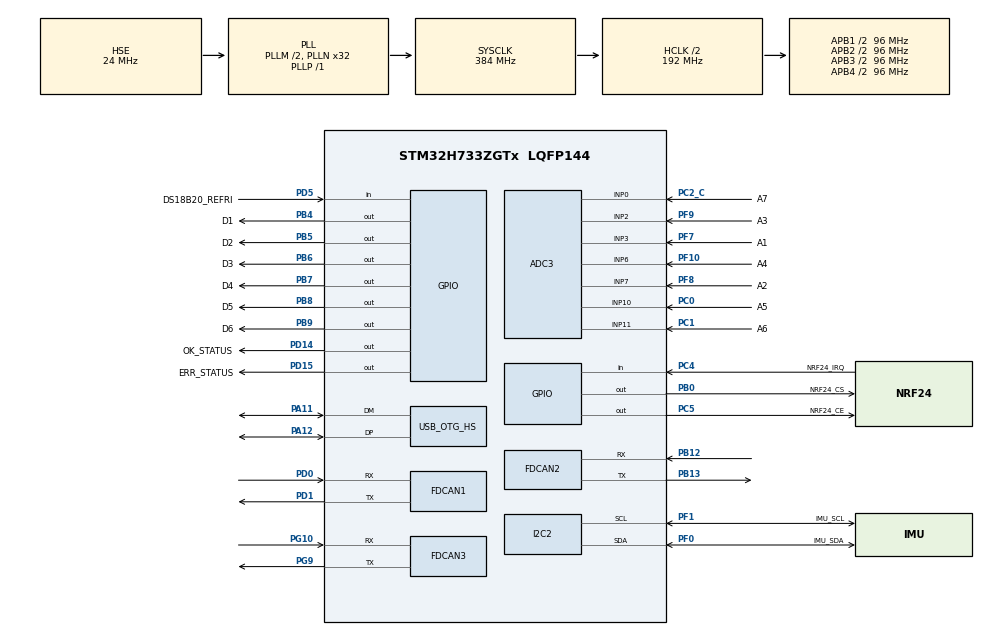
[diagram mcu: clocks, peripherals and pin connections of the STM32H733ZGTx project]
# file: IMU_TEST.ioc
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ADC3.Channel-0\#ChannelRegularConversion=ADC_CHANNEL_3
ADC3.NbrOfConversionFlag=1
ADC3.OffsetNumber-0\#ChannelRegularConversion=ADC_OFFSET_NONE
ADC3.OffsetSign-0\#ChannelRegularConversion=ADC3_OFFSET_SIGN_NEGATIVE
ADC3.Rank-0\#ChannelRegularConversion=1
ADC3.SamplingTime-0\#ChannelRegularConversion=ADC3_SAMPLETIME_2CYCLES_5
FDCAN1.AutoRetransmission=ENABLE
FDCAN1.CalculateBaudRateNominal=500000
FDCAN1.CalculateTimeBitNominal=2000
FDCAN1.CalculateTimeQuantumNominal=250.0
FDCAN1.ExtFiltersNbr=1
FDCAN1.NominalPrescaler=6
FDCAN1.NominalTimeSeg1=2
FDCAN1.NominalTimeSeg2=5
FDCAN1.RxBuffersNbr=0
FDCAN1.RxFifo0ElmtsNbr=32
FDCAN1.RxFifo1ElmtsNbr=32
FDCAN1.StdFiltersNbr=1
FDCAN1.TxBuffersNbr=0
FDCAN1.TxEventsNbr=0
FDCAN1.TxFifoQueueElmtsNbr=32
FDCAN2.CalculateBaudRateNominal=500000
FDCAN2.CalculateTimeBitNominal=2000
FDCAN2.CalculateTimeQuantumNominal=250.0
FDCAN2.ExtFiltersNbr=1
FDCAN2.FrameFormat=FDCAN_FRAME_CLASSIC
FDCAN2.NominalPrescaler=6
FDCAN2.NominalTimeSeg1=2
FDCAN2.NominalTimeSeg2=5
FDCAN2.RxBuffersNbr=0
FDCAN2.RxFifo0ElmtSize=FDCAN_DATA_BYTES_8
FDCAN2.RxFifo0ElmtsNbr=16
FDCAN2.RxFifo1ElmtsNbr=16
FDCAN2.StdFiltersNbr=1
FDCAN2.TxEventsNbr=0
FDCAN2.TxFifoQueueElmtsNbr=32
FDCAN3.CalculateBaudRateNominal=500000
FDCAN3.CalculateTimeBitNominal=2000
FDCAN3.CalculateTimeQuantumNominal=250.0
FDCAN3.ExtFiltersNbr=1
FDCAN3.NominalPrescaler=6
FDCAN3.NominalTimeSeg1=2
FDCAN3.NominalTimeSeg2=5
FDCAN3.RxFifo0ElmtsNbr=16
FDCAN3.RxFifo1ElmtsNbr=16
FDCAN3.StdFiltersNbr=1
FDCAN3.TxFifoQueueElmtsNbr=32
I2C2.Speed=100
I2C2.Timing=0x10B0DCFB
Mcu.Family=STM32H7
Mcu.Name=STM32H733ZGTx
Mcu.Package=LQFP144
NVIC.FDCAN1_IT0_IRQn=true\:1\:0\:true\:false\:true\:true\:true\:true
NVIC.FDCAN2_IT0_IRQn=true\:2\:0\:true\:false\:true\:true\:true\:true
NVIC.FDCAN3_IT0_IRQn=true\:0\:0\:false\:false\:true\:true\:true\:true
NVIC.OTG_HS_IRQn=true\:0\:0\:false\:false\:true\:false\:true\:true
NVIC.PriorityGroup=NVIC_PRIORITYGROUP_4
NVIC.TIM16_IRQn=true\:0\:0\:false\:false\:true\:true\:true\:true
PA11.Mode=Device_Only_FS
PA11.Signal=USB_OTG_HS_DM
PA12.Mode=Device_Only_FS
PA12.Signal=USB_OTG_HS_DP
PA13(JTMS/SWDIO).Mode=Serial_Wire
PA13(JTMS/SWDIO).Signal=DEBUG_JTMS-SWDIO
PA14(JTCK/SWCLK).Mode=Serial_Wire
PA14(JTCK/SWCLK).Signal=DEBUG_JTCK-SWCLK
PA5.Signal=SPI1_SCK
PA6.Signal=SPI1_MISO
PA7.Signal=SPI1_MOSI
PB0.GPIO_Label=NRF24_CS
PB0.Signal=GPIO_Output
PB12.Mode=FDCAN_Activate
PB12.Signal=FDCAN2_RX
PB13.Mode=FDCAN_Activate
PB13.Signal=FDCAN2_TX
PB4(NJTRST).GPIO_Label=D1
PB4(NJTRST).Signal=GPIO_Output
PB5.GPIO_Label=D2
PB5.Signal=GPIO_Output
PB6.GPIO_Label=D3
PB6.Signal=GPIO_Output
PB7.GPIO_Label=D4
PB7.Signal=GPIO_Output
PB8.GPIO_Label=D5
PB8.Signal=GPIO_Output
PB9.GPIO_Label=D6
PB9.Signal=GPIO_Output
PC0.GPIO_Label=A5
PC0.Signal=ADCx_INP10
PC1.GPIO_Label=A6
PC1.Signal=ADCx_INP11
PC2_C.GPIO_Label=A7
PC2_C.Mode=IN0-Single-Ended
PC2_C.Signal=ADC3_INP0
PC4.GPIO_Label=NRF24_IRQ
PC4.Signal=GPIO_Input
PC5.GPIO_Label=NRF24_CE
PC5.Signal=GPIO_Output
PD0.Mode=FDCAN_Activate
PD0.Signal=FDCAN1_RX
PD1.Mode=FDCAN_Activate
PD1.Signal=FDCAN1_TX
PD14.GPIO_Label=OK_STATUS
PD14.Signal=GPIO_Output
PD15.GPIO_Label=ERR_STATUS
PD15.Signal=GPIO_Output
PD5.GPIO_Label=DS18B20_REFRI
PD5.Signal=GPIO_Input
PF0.GPIO_Label=IMU_SDA
PF0.GPIO_Pu=GPIO_PULLUP
PF0.GPIO_Speed=GPIO_SPEED_FREQ_VERY_HIGH
PF0.Mode=I2C
PF0.Signal=I2C2_SDA
PF1.GPIO_Label=IMU_SCL
PF1.GPIO_Pu=GPIO_PULLUP
PF1.GPIO_Speed=GPIO_SPEED_FREQ_VERY_HIGH
PF1.Mode=I2C
PF1.Signal=I2C2_SCL
PF10.GPIO_Label=A4
PF10.Mode=IN6-Single-Ended
PF10.Signal=ADC3_INP6
PF7.GPIO_Label=A1
PF7.Mode=IN3-Single-Ended
PF7.Signal=ADC3_INP3
PF8.GPIO_Label=A2
PF8.Signal=SharedAnalog_PF8
PF9.GPIO_Label=A3
PF9.Mode=IN2-Single-Ended
PF9.Signal=ADC3_INP2
PG10.Mode=FDCAN_Activate
PG10.Signal=FDCAN3_RX
PG11.Signal=USART10_RX
PG12.Signal=USART10_TX
PG9.Mode=FDCAN_Activate
PG9.Signal=FDCAN3_TX
PH0-OSC_IN.Mode=HSE-External-Oscillator
PH0-OSC_IN.Signal=RCC_OSC_IN
PH1-OSC_OUT.Mode=HSE-External-Oscillator
PH1-OSC_OUT.Signal=RCC_OSC_OUT
ProjectManager.HeapSize=0x200
ProjectManager.StackSize=0x400
ProjectManager.TargetToolchain=CMake
RCC.ADCCLockSelection=RCC_ADCCLKSOURCE_PLL2
RCC.ADCFreq_Value=48000000
RCC.APB1Freq_Value=96000000
RCC.APB2Freq_Value=96000000
RCC.APB3Freq_Value=96000000
RCC.APB4Freq_Value=96000000
RCC.CECCLockSelection=RCC_CECCLKSOURCE_LSI
RCC.CKPERSourceSelection=RCC_CLKPSOURCE_HSI
RCC.CSI_VALUE=4000000
RCC.CortexFreq_Value=384000000
RCC.Cortex_DivARG=SystemCoreClock/1000
RCC.D1PPRE=RCC_APB3_DIV2
RCC.D2PPRE1=RCC_APB1_DIV2
RCC.D2PPRE2=RCC_APB2_DIV2
RCC.D3PPRE=RCC_APB4_DIV2
RCC.DFSDMCLockSelection=RCC_DFSDM1CLKSOURCE_D2PCLK1
RCC.DIVM1=2
RCC.DIVM2=2
RCC.DIVN1=32
RCC.DIVN2=16
RCC.DIVP1=1
RCC.DIVP2=4
RCC.DIVQ1=4
RCC.EXTERNAL_CLOCK_VALUE=12288000
RCC.FDCANCLockSelection=RCC_FDCANCLKSOURCE_HSE
RCC.FMCCLockSelection=RCC_FMCCLKSOURCE_D1HCLK
RCC.HCLKFreq_Value=192000000
RCC.HPRE=RCC_HCLK_DIV2
RCC.HSE_VALUE=24000000
RCC.HSI48_VALUE=48000000
RCC.HSI_VALUE=64000000
RCC.I2C123CLockSelection=RCC_I2C1235CLKSOURCE_D2PCLK1
RCC.I2C4CLockSelection=RCC_I2C4CLKSOURCE_D3PCLK1
RCC.LPTIM1CLockSelection=RCC_LPTIM1CLKSOURCE_D2PCLK1
RCC.LPTIM2CLockSelection=RCC_LPTIM2CLKSOURCE_D3PCLK1
RCC.LPTIM345CLockSelection=RCC_LPTIM345CLKSOURCE_D3PCLK1
RCC.LPUART1CLockSelection=RCC_LPUART1CLKSOURCE_D3PCLK1
RCC.LSE_VALUE=32768
RCC.PLL2FRACN=0
RCC.PLL3FRACN=0
RCC.PLLFRACN=0
RCC.PLLSourceVirtual=RCC_PLLSOURCE_HSE
RCC.QSPICLockSelection=RCC_OSPICLKSOURCE_D1HCLK
RCC.RCC_MCO1Source=RCC_MCO1SOURCE_HSI
RCC.RCC_MCO2Source=RCC_MCO2SOURCE_SYSCLK
RCC.RNGCLockSelection=RCC_RNGCLKSOURCE_HSI48
RCC.SAI1CLockSelection=RCC_SAI1CLKSOURCE_PLL
RCC.SAI4ACLockSelection=RCC_SAI4ACLKSOURCE_PLL
RCC.SAI4BCLockSelection=RCC_SAI4BCLKSOURCE_PLL
RCC.SDMMC1CLockSelection=RCC_SDMMCCLKSOURCE_PLL2
RCC.SPDIFCLockSelection=RCC_SPDIFRXCLKSOURCE_PLL
RCC.SPI123CLockSelection=RCC_SPI123CLKSOURCE_PLL
RCC.SPI6CLockSelection=RCC_SPI6CLKSOURCE_D3PCLK1
RCC.SWPCLockSelection=RCC_SWPMI1CLKSOURCE_D2PCLK1
RCC.SYSCLKFreq_VALUE=384000000
RCC.SYSCLKSource=RCC_SYSCLKSOURCE_PLLCLK
RCC.Spi45ClockSelection=RCC_SPI45CLKSOURCE_D2PCLK1
RCC.USART16CLockSelection=RCC_USART16910CLKSOURCE_D2PCLK2
RCC.USART234578CLockSelection=RCC_USART234578CLKSOURCE_D2PCLK1
RCC.USBCLockSelection=RCC_USBCLKSOURCE_HSI48
RCC.USBFreq_Value=48000000
SH.ADCx_INP10.0=ADC3_INP10,IN10-Single-Ended
SH.ADCx_INP11.0=ADC3_INP11,IN11-Single-Ended
SH.SharedAnalog_PF8.0=ADC3_INN3
SH.SharedAnalog_PF8.1=ADC3_INP7,IN7-Single-Ended
TIM1.AutoReloadPreload=TIM_AUTORELOAD_PRELOAD_ENABLE
TIM16.Period=10000 - 1
TIM16.Prescaler=528
USB_DEVICE.CLASS_NAME_HS=CDC
USB_DEVICE.VirtualMode=Cdc
USB_DEVICE.VirtualModeHS=Cdc_HS
USB_OTG_HS.VirtualMode-Device_Only_FS=Device_Only_FS
VP_CORDIC_VS_CORDIC.Mode=CORDIC_Activate
VP_MEMORYMAP_VS_MEMORYMAP.Mode=CurAppReg
VP_TIM16_VS_ClockSourceINT.Mode=Enable_Timer
VP_TIM1_VS_ClockSourceINT.Mode=Internal
VP_USB_DEVICE_VS_USB_DEVICE_CDC_HS.Mode=CDC_HS
board=custom

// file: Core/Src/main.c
/* USER CODE BEGIN Header */
/**
 ******************************************************************************
 * @file           : main.c
 * @brief          : Main program body
 ******************************************************************************
 * @attention
 *
 * Copyright (c) 2026 STMicroelectronics.
 * All rights reserved.
 *
 * This software is licensed under terms that can be found in the LICENSE file
 * in the root directory of this software component.
 * If no LICENSE file comes with this software, it is provided AS-IS.
 *
 ******************************************************************************
 */
/* USER CODE END Header */
#include "main.h"
#include "usb_device.h"

/* USER CODE BEGIN Includes */
#include "usbd_cdc_if.h"
#include <math.h>
#include <stdio.h>
#include <string.h>

#include "attitude.h"
#include "bmi088.h"
#include "i2c_utils.h"

/* USER CODE END Includes */

/* USER CODE END PD */

ADC_HandleTypeDef hadc3;

CORDIC_HandleTypeDef hcordic;

FDCAN_HandleTypeDef hfdcan1;
FDCAN_HandleTypeDef hfdcan2;
FDCAN_HandleTypeDef hfdcan3;

I2C_HandleTypeDef hi2c2;

TIM_HandleTypeDef htim1;
TIM_HandleTypeDef htim16;

/* USER CODE BEGIN PV */

static I2C_Utils_t i2c2u;
static bmi088_t bmi;
static attitude_t att;

static float gx_off = 0.0f, gy_off = 0.0f, gz_off = 0.0f;

/* USER CODE END PV */

void SystemClock_Config(void);
static void MX_GPIO_Init(void);
static void MX_FDCAN1_Init(void);
static void MX_FDCAN2_Init(void);
static void MX_TIM1_Init(void);
static void MX_TIM16_Init(void);
static void MX_FDCAN3_Init(void);
static void MX_ADC3_Init(void);
static void MX_I2C2_Init(void);
static void MX_CORDIC_Init(void);
/* USER CODE BEGIN PFP */
static void cdc_print(const char *s);
static void print_i2c_scan(void);
static void gyro_calibrate_bias_dps(void);

/* USER CODE END PFP */

int main(void) {

  /* MCU Configuration--------------------------------------------------------*/

  /* Reset of all peripherals, Initializes the Flash interface and the Systick.
   */
  HAL_Init();

  /* Configure the system clock */
  SystemClock_Config();

  /* Initialize all configured peripherals */
  MX_GPIO_Init();
  MX_FDCAN1_Init();
  MX_FDCAN2_Init();
  MX_TIM1_Init();
  MX_TIM16_Init();
  MX_FDCAN3_Init();
  MX_ADC3_Init();
  MX_I2C2_Init();
  MX_USB_DEVICE_Init();
  MX_CORDIC_Init();
  /* USER CODE BEGIN 2 */

  i2c_utils_init(&i2c2u, &hi2c2, IMU_SCL_GPIO_Port, IMU_SCL_Pin,
                 IMU_SDA_GPIO_Port, IMU_SDA_Pin);

  // print_i2c_scan();

  bmi088_bind(&bmi, &i2c2u, BMI088_ACC_ADDR_7B, BMI088_GYR_ADDR_7B);

  uint8_t acc_id = 0, gyr_id = 0;
  if (bmi088_read_ids(&bmi, &acc_id, &gyr_id) == BMI088_OK) {
    char msg[96];
    snprintf(msg, sizeof(msg), "BMI088 IDs: ACC=0x%02X | GYR=0x%02X\r\n",
             acc_id, gyr_id);
    cdc_print(msg);
  }

  if (bmi088_init_minimal(&bmi) != BMI088_OK) {
    cdc_print("BMI088 init failed\r\n");
  } else {
    cdc_print("BMI088 init OK\r\n");
  }

  attitude_init(&att, 0.98f);
  gyro_calibrate_bias_dps();

  /* USER CODE END 2 */

  /* Infinite loop */
  /* USER CODE BEGIN WHILE */

  while (1) {

    static uint32_t t = 0;
    if (HAL_GetTick() - t >= 10) { // 10 ms = 100 Hz
      t += 10;
      bmi088_scaled_t s;
      if (bmi088_read_scaled(&bmi, &s) == BMI088_OK) {
        attitude_update_cordic(&att, &hcordic, s.ax_g, s.ay_g, s.az_g, s.gx_dps,
                               s.gy_dps, s.gz_dps);

        char msg[160];
        snprintf(msg, sizeof(msg),
                 "%lu,%.2f,%.2f,%.4f,%.4f,%.4f,%.2f,%.2f,%.2f\r\n",
                 (unsigned long)HAL_GetTick(), attitude_roll_deg(&att),
                 attitude_pitch_deg(&att), s.ax_g, s.ay_g, s.az_g,
                 s.gx_dps - gx_off, s.gy_dps - gy_off, s.gz_dps - gz_off);

        cdc_print(msg);
      } else {
        cdc_print("IMU read error\r\n");
      }
    }

    /* USER CODE END WHILE */

  }
}

void SystemClock_Config(void) {
  RCC_OscInitTypeDef RCC_OscInitStruct = {0};
  RCC_ClkInitTypeDef RCC_ClkInitStruct = {0};

  /** Supply configuration update enable
   */
  HAL_PWREx_ConfigSupply(PWR_LDO_SUPPLY);

  /** Configure the main internal regulator output voltage
   */
  __HAL_PWR_VOLTAGESCALING_CONFIG(PWR_REGULATOR_VOLTAGE_SCALE1);

  while (!__HAL_PWR_GET_FLAG(PWR_FLAG_VOSRDY)) {
  }

  /** Initializes the RCC Oscillators according to the specified parameters
   * in the RCC_OscInitTypeDef structure.
   */
  RCC_OscInitStruct.OscillatorType =
      RCC_OSCILLATORTYPE_HSI48 | RCC_OSCILLATORTYPE_HSE;
  RCC_OscInitStruct.HSEState = RCC_HSE_ON;
  RCC_OscInitStruct.HSI48State = RCC_HSI48_ON;
  RCC_OscInitStruct.PLL.PLLState = RCC_PLL_ON;
  RCC_OscInitStruct.PLL.PLLSource = RCC_PLLSOURCE_HSE;
  RCC_OscInitStruct.PLL.PLLM = 2;
  RCC_OscInitStruct.PLL.PLLN = 32;
  RCC_OscInitStruct.PLL.PLLP = 1;
  RCC_OscInitStruct.PLL.PLLQ = 4;
  RCC_OscInitStruct.PLL.PLLR = 2;
  RCC_OscInitStruct.PLL.PLLRGE = RCC_PLL1VCIRANGE_3;
  RCC_OscInitStruct.PLL.PLLVCOSEL = RCC_PLL1VCOWIDE;
  RCC_OscInitStruct.PLL.PLLFRACN = 0;
  if (HAL_RCC_OscConfig(&RCC_OscInitStruct) != HAL_OK) {
    Error_Handler();
  }

  /** Initializes the CPU, AHB and APB buses clocks
   */
  RCC_ClkInitStruct.ClockType = RCC_CLOCKTYPE_HCLK | RCC_CLOCKTYPE_SYSCLK |
                                RCC_CLOCKTYPE_PCLK1 | RCC_CLOCKTYPE_PCLK2 |
                                RCC_CLOCKTYPE_D3PCLK1 | RCC_CLOCKTYPE_D1PCLK1;
  RCC_ClkInitStruct.SYSCLKSource = RCC_SYSCLKSOURCE_PLLCLK;
  RCC_ClkInitStruct.SYSCLKDivider = RCC_SYSCLK_DIV1;
  RCC_ClkInitStruct.AHBCLKDivider = RCC_HCLK_DIV2;
  RCC_ClkInitStruct.APB3CLKDivider = RCC_APB3_DIV2;
  RCC_ClkInitStruct.APB1CLKDivider = RCC_APB1_DIV2;
  RCC_ClkInitStruct.APB2CLKDivider = RCC_APB2_DIV2;
  RCC_ClkInitStruct.APB4CLKDivider = RCC_APB4_DIV2;

  if (HAL_RCC_ClockConfig(&RCC_ClkInitStruct, FLASH_LATENCY_2) != HAL_OK) {
    Error_Handler();
  }
}

static void MX_ADC3_Init(void) {

  ADC_ChannelConfTypeDef sConfig = {0};

  /** Common config
   */
  hadc3.Instance = ADC3;
  hadc3.Init.ClockPrescaler = ADC_CLOCK_ASYNC_DIV1;
  hadc3.Init.Resolution = ADC_RESOLUTION_12B;
  hadc3.Init.DataAlign = ADC3_DATAALIGN_RIGHT;
  hadc3.Init.ScanConvMode = ADC_SCAN_DISABLE;
  hadc3.Init.EOCSelection = ADC_EOC_SINGLE_CONV;
  hadc3.Init.LowPowerAutoWait = DISABLE;
  hadc3.Init.ContinuousConvMode = DISABLE;
  hadc3.Init.NbrOfConversion = 1;
  hadc3.Init.DiscontinuousConvMode = DISABLE;
  hadc3.Init.ExternalTrigConv = ADC_SOFTWARE_START;
  hadc3.Init.ExternalTrigConvEdge = ADC_EXTERNALTRIGCONVEDGE_NONE;
  hadc3.Init.DMAContinuousRequests = DISABLE;
  hadc3.Init.SamplingMode = ADC_SAMPLING_MODE_NORMAL;
  hadc3.Init.ConversionDataManagement = ADC_CONVERSIONDATA_DR;
  hadc3.Init.Overrun = ADC_OVR_DATA_PRESERVED;
  hadc3.Init.LeftBitShift = ADC_LEFTBITSHIFT_NONE;
  hadc3.Init.OversamplingMode = DISABLE;
  hadc3.Init.Oversampling.Ratio = ADC3_OVERSAMPLING_RATIO_2;
  if (HAL_ADC_Init(&hadc3) != HAL_OK) {
    Error_Handler();
  }

  /** Configure Regular Channel
   */
  sConfig.Channel = ADC_CHANNEL_3;
  sConfig.Rank = ADC_REGULAR_RANK_1;
  sConfig.SamplingTime = ADC3_SAMPLETIME_2CYCLES_5;
  sConfig.SingleDiff = ADC_SINGLE_ENDED;
  sConfig.OffsetNumber = ADC_OFFSET_NONE;
  sConfig.Offset = 0;
  sConfig.OffsetSign = ADC3_OFFSET_SIGN_NEGATIVE;
  if (HAL_ADC_ConfigChannel(&hadc3, &sConfig) != HAL_OK) {
    Error_Handler();
  }
}

static void MX_CORDIC_Init(void) {

  hcordic.Instance = CORDIC;
  if (HAL_CORDIC_Init(&hcordic) != HAL_OK) {
    Error_Handler();
  }
}

static void MX_FDCAN1_Init(void) {

  hfdcan1.Instance = FDCAN1;
  hfdcan1.Init.FrameFormat = FDCAN_FRAME_CLASSIC;
  hfdcan1.Init.Mode = FDCAN_MODE_NORMAL;
  hfdcan1.Init.AutoRetransmission = ENABLE;
  hfdcan1.Init.TransmitPause = DISABLE;
  hfdcan1.Init.ProtocolException = DISABLE;
  hfdcan1.Init.NominalPrescaler = 6;
  hfdcan1.Init.NominalSyncJumpWidth = 1;
  hfdcan1.Init.NominalTimeSeg1 = 2;
  hfdcan1.Init.NominalTimeSeg2 = 5;
  hfdcan1.Init.DataPrescaler = 1;
  hfdcan1.Init.DataSyncJumpWidth = 1;
  hfdcan1.Init.DataTimeSeg1 = 1;
  hfdcan1.Init.DataTimeSeg2 = 1;
  hfdcan1.Init.MessageRAMOffset = 0;
  hfdcan1.Init.StdFiltersNbr = 1;
  hfdcan1.Init.ExtFiltersNbr = 1;
  hfdcan1.Init.RxFifo0ElmtsNbr = 32;
  hfdcan1.Init.RxFifo0ElmtSize = FDCAN_DATA_BYTES_8;
  hfdcan1.Init.RxFifo1ElmtsNbr = 32;
  hfdcan1.Init.RxFifo1ElmtSize = FDCAN_DATA_BYTES_8;
  hfdcan1.Init.RxBuffersNbr = 0;
  hfdcan1.Init.RxBufferSize = FDCAN_DATA_BYTES_8;
  hfdcan1.Init.TxEventsNbr = 0;
  hfdcan1.Init.TxBuffersNbr = 0;
  hfdcan1.Init.TxFifoQueueElmtsNbr = 32;
  hfdcan1.Init.TxFifoQueueMode = FDCAN_TX_FIFO_OPERATION;
  hfdcan1.Init.TxElmtSize = FDCAN_DATA_BYTES_8;
  if (HAL_FDCAN_Init(&hfdcan1) != HAL_OK) {
    Error_Handler();
  }
}

static void MX_FDCAN2_Init(void) {

  hfdcan2.Instance = FDCAN2;
  hfdcan2.Init.FrameFormat = FDCAN_FRAME_CLASSIC;
  hfdcan2.Init.Mode = FDCAN_MODE_NORMAL;
  hfdcan2.Init.AutoRetransmission = DISABLE;
  hfdcan2.Init.TransmitPause = DISABLE;
  hfdcan2.Init.ProtocolException = DISABLE;
  hfdcan2.Init.NominalPrescaler = 6;
  hfdcan2.Init.NominalSyncJumpWidth = 1;
  hfdcan2.Init.NominalTimeSeg1 = 2;
  hfdcan2.Init.NominalTimeSeg2 = 5;
  hfdcan2.Init.DataPrescaler = 1;
  hfdcan2.Init.DataSyncJumpWidth = 1;
  hfdcan2.Init.DataTimeSeg1 = 1;
  hfdcan2.Init.DataTimeSeg2 = 1;
  hfdcan2.Init.MessageRAMOffset = 0;
  hfdcan2.Init.StdFiltersNbr = 1;
  hfdcan2.Init.ExtFiltersNbr = 1;
  hfdcan2.Init.RxFifo0ElmtsNbr = 16;
  hfdcan2.Init.RxFifo0ElmtSize = FDCAN_DATA_BYTES_8;
  hfdcan2.Init.RxFifo1ElmtsNbr = 16;
  hfdcan2.Init.RxFifo1ElmtSize = FDCAN_DATA_BYTES_8;
  hfdcan2.Init.RxBuffersNbr = 0;
  hfdcan2.Init.RxBufferSize = FDCAN_DATA_BYTES_8;
  hfdcan2.Init.TxEventsNbr = 0;
  hfdcan2.Init.TxBuffersNbr = 0;
  hfdcan2.Init.TxFifoQueueElmtsNbr = 32;
  hfdcan2.Init.TxFifoQueueMode = FDCAN_TX_FIFO_OPERATION;
  hfdcan2.Init.TxElmtSize = FDCAN_DATA_BYTES_8;
  if (HAL_FDCAN_Init(&hfdcan2) != HAL_OK) {
    Error_Handler();
  }
}

static void MX_FDCAN3_Init(void) {

  hfdcan3.Instance = FDCAN3;
  hfdcan3.Init.FrameFormat = FDCAN_FRAME_CLASSIC;
  hfdcan3.Init.Mode = FDCAN_MODE_NORMAL;
  hfdcan3.Init.AutoRetransmission = DISABLE;
  hfdcan3.Init.TransmitPause = DISABLE;
  hfdcan3.Init.ProtocolException = DISABLE;
  hfdcan3.Init.NominalPrescaler = 6;
  hfdcan3.Init.NominalSyncJumpWidth = 1;
  hfdcan3.Init.NominalTimeSeg1 = 2;
  hfdcan3.Init.NominalTimeSeg2 = 5;
  hfdcan3.Init.DataPrescaler = 1;
  hfdcan3.Init.DataSyncJumpWidth = 1;
  hfdcan3.Init.DataTimeSeg1 = 1;
  hfdcan3.Init.DataTimeSeg2 = 1;
  hfdcan3.Init.MessageRAMOffset = 0;
  hfdcan3.Init.StdFiltersNbr = 1;
  hfdcan3.Init.ExtFiltersNbr = 1;
  hfdcan3.Init.RxFifo0ElmtsNbr = 16;
  hfdcan3.Init.RxFifo0ElmtSize = FDCAN_DATA_BYTES_8;
  hfdcan3.Init.RxFifo1ElmtsNbr = 16;
  hfdcan3.Init.RxFifo1ElmtSize = FDCAN_DATA_BYTES_8;
  hfdcan3.Init.RxBuffersNbr = 0;
  hfdcan3.Init.RxBufferSize = FDCAN_DATA_BYTES_8;
  hfdcan3.Init.TxEventsNbr = 0;
  hfdcan3.Init.TxBuffersNbr = 0;
  hfdcan3.Init.TxFifoQueueElmtsNbr = 32;
  hfdcan3.Init.TxFifoQueueMode = FDCAN_TX_FIFO_OPERATION;
  hfdcan3.Init.TxElmtSize = FDCAN_DATA_BYTES_8;
  if (HAL_FDCAN_Init(&hfdcan3) != HAL_OK) {
    Error_Handler();
  }
}

static void MX_I2C2_Init(void) {

  hi2c2.Instance = I2C2;
  hi2c2.Init.Timing = 0x10B0DCFB;
  hi2c2.Init.OwnAddress1 = 0;
  hi2c2.Init.AddressingMode = I2C_ADDRESSINGMODE_7BIT;
  hi2c2.Init.DualAddressMode = I2C_DUALADDRESS_DISABLE;
  hi2c2.Init.OwnAddress2 = 0;
  hi2c2.Init.OwnAddress2Masks = I2C_OA2_NOMASK;
  hi2c2.Init.GeneralCallMode = I2C_GENERALCALL_DISABLE;
  hi2c2.Init.NoStretchMode = I2C_NOSTRETCH_DISABLE;
  if (HAL_I2C_Init(&hi2c2) != HAL_OK) {
    Error_Handler();
  }

  /** Configure Analogue filter
   */
  if (HAL_I2CEx_ConfigAnalogFilter(&hi2c2, I2C_ANALOGFILTER_ENABLE) != HAL_OK) {
    Error_Handler();
  }

  /** Configure Digital filter
   */
  if (HAL_I2CEx_ConfigDigitalFilter(&hi2c2, 0) != HAL_OK) {
    Error_Handler();
  }
}

static void MX_TIM1_Init(void) {

  TIM_ClockConfigTypeDef sClockSourceConfig = {0};
  TIM_MasterConfigTypeDef sMasterConfig = {0};

  htim1.Instance = TIM1;
  htim1.Init.Prescaler = 0;
  htim1.Init.CounterMode = TIM_COUNTERMODE_UP;
  htim1.Init.Period = 65535;
  htim1.Init.ClockDivision = TIM_CLOCKDIVISION_DIV1;
  htim1.Init.RepetitionCounter = 0;
  htim1.Init.AutoReloadPreload = TIM_AUTORELOAD_PRELOAD_ENABLE;
  if (HAL_TIM_Base_Init(&htim1) != HAL_OK) {
    Error_Handler();
  }
  sClockSourceConfig.ClockSource = TIM_CLOCKSOURCE_INTERNAL;
  if (HAL_TIM_ConfigClockSource(&htim1, &sClockSourceConfig) != HAL_OK) {
    Error_Handler();
  }
  sMasterConfig.MasterOutputTrigger = TIM_TRGO_RESET;
  sMasterConfig.MasterOutputTrigger2 = TIM_TRGO2_RESET;
  sMasterConfig.MasterSlaveMode = TIM_MASTERSLAVEMODE_DISABLE;
  if (HAL_TIMEx_MasterConfigSynchronization(&htim1, &sMasterConfig) != HAL_OK) {
    Error_Handler();
  }
}

static void MX_TIM16_Init(void) {

  htim16.Instance = TIM16;
  htim16.Init.Prescaler = 528;
  htim16.Init.CounterMode = TIM_COUNTERMODE_UP;
  htim16.Init.Period = 10000 - 1;
  htim16.Init.ClockDivision = TIM_CLOCKDIVISION_DIV1;
  htim16.Init.RepetitionCounter = 0;
  htim16.Init.AutoReloadPreload = TIM_AUTORELOAD_PRELOAD_DISABLE;
  if (HAL_TIM_Base_Init(&htim16) != HAL_OK) {
    Error_Handler();
  }
}

static void MX_GPIO_Init(void) {
  GPIO_InitTypeDef GPIO_InitStruct = {0};

  /* GPIO Ports Clock Enable */
  __HAL_RCC_GPIOF_CLK_ENABLE();
  __HAL_RCC_GPIOH_CLK_ENABLE();
  __HAL_RCC_GPIOC_CLK_ENABLE();
  __HAL_RCC_GPIOA_CLK_ENABLE();
  __HAL_RCC_GPIOB_CLK_ENABLE();
  __HAL_RCC_GPIOD_CLK_ENABLE();
  __HAL_RCC_GPIOG_CLK_ENABLE();

  /*Configure GPIO pin Output Level */
  HAL_GPIO_WritePin(NRF24_CE_GPIO_Port, NRF24_CE_Pin, GPIO_PIN_RESET);

  /*Configure GPIO pin Output Level */
  HAL_GPIO_WritePin(
      GPIOB, NRF24_CS_Pin | D1_Pin | D2_Pin | D3_Pin | D4_Pin | D5_Pin | D6_Pin,
      GPIO_PIN_RESET);

  /*Configure GPIO pin Output Level */
  HAL_GPIO_WritePin(GPIOD, OK_STATUS_Pin | ERR_STATUS_Pin, GPIO_PIN_RESET);

  /*Configure GPIO pins : PA5 PA6 PA7 */
  GPIO_InitStruct.Pin = GPIO_PIN_5 | GPIO_PIN_6 | GPIO_PIN_7;
  GPIO_InitStruct.Mode = GPIO_MODE_AF_PP;
  GPIO_InitStruct.Pull = GPIO_NOPULL;
  GPIO_InitStruct.Speed = GPIO_SPEED_FREQ_LOW;
  GPIO_InitStruct.Alternate = GPIO_AF5_SPI1;
  HAL_GPIO_Init(GPIOA, &GPIO_InitStruct);

  /*Configure GPIO pin : NRF24_IRQ_Pin */
  GPIO_InitStruct.Pin = NRF24_IRQ_Pin;
  GPIO_InitStruct.Mode = GPIO_MODE_INPUT;
  GPIO_InitStruct.Pull = GPIO_NOPULL;
  HAL_GPIO_Init(NRF24_IRQ_GPIO_Port, &GPIO_InitStruct);

  /*Configure GPIO pin : NRF24_CE_Pin */
  GPIO_InitStruct.Pin = NRF24_CE_Pin;
  GPIO_InitStruct.Mode = GPIO_MODE_OUTPUT_PP;
  GPIO_InitStruct.Pull = GPIO_NOPULL;
  GPIO_InitStruct.Speed = GPIO_SPEED_FREQ_LOW;
  HAL_GPIO_Init(NRF24_CE_GPIO_Port, &GPIO_InitStruct);

  /*Configure GPIO pins : NRF24_CS_Pin D1_Pin D2_Pin D3_Pin
                           D4_Pin D5_Pin D6_Pin */
  GPIO_InitStruct.Pin =
      NRF24_CS_Pin | D1_Pin | D2_Pin | D3_Pin | D4_Pin | D5_Pin | D6_Pin;
  GPIO_InitStruct.Mode = GPIO_MODE_OUTPUT_PP;
  GPIO_InitStruct.Pull = GPIO_NOPULL;
  GPIO_InitStruct.Speed = GPIO_SPEED_FREQ_LOW;
  HAL_GPIO_Init(GPIOB, &GPIO_InitStruct);

  /*Configure GPIO pins : OK_STATUS_Pin ERR_STATUS_Pin */
  GPIO_InitStruct.Pin = OK_STATUS_Pin | ERR_STATUS_Pin;
  GPIO_InitStruct.Mode = GPIO_MODE_OUTPUT_PP;
  GPIO_InitStruct.Pull = GPIO_NOPULL;
  GPIO_InitStruct.Speed = GPIO_SPEED_FREQ_LOW;
  HAL_GPIO_Init(GPIOD, &GPIO_InitStruct);

  /*Configure GPIO pin : DS18B20_REFRI_Pin */
  GPIO_InitStruct.Pin = DS18B20_REFRI_Pin;
  GPIO_InitStruct.Mode = GPIO_MODE_INPUT;
  GPIO_InitStruct.Pull = GPIO_NOPULL;
  HAL_GPIO_Init(DS18B20_REFRI_GPIO_Port, &GPIO_InitStruct);

  /*Configure GPIO pins : PG11 PG12 */
  GPIO_InitStruct.Pin = GPIO_PIN_11 | GPIO_PIN_12;
  GPIO_InitStruct.Mode = GPIO_MODE_AF_PP;
  GPIO_InitStruct.Pull = GPIO_NOPULL;
  GPIO_InitStruct.Speed = GPIO_SPEED_FREQ_LOW;
  GPIO_InitStruct.Alternate = GPIO_AF4_USART10;
  HAL_GPIO_Init(GPIOG, &GPIO_InitStruct);

}

/* USER CODE BEGIN 4 */

static void cdc_print(const char *s) {
  // Simple transmit: if CDC is busy, retry a few times
  for (int i = 0; i < 50; i++) {
    if (CDC_Transmit_HS((uint8_t *)s, (uint16_t)strlen(s)) == USBD_OK)
      return;
    HAL_Delay(2);
  }
}

static void print_i2c_scan(void) {
  uint8_t addrs[16];
  uint8_t n = i2c_utils_scan(&i2c2u, addrs, 16);

  char msg[64];
  snprintf(msg, sizeof(msg), "\r\nI2C2 scan done. Found %u device(s).\r\n", n);
  cdc_print(msg);

  for (uint8_t i = 0; i < n && i < 16; i++) {
    snprintf(msg, sizeof(msg), " - Found device at 0x%02X\r\n", addrs[i]);
    cdc_print(msg);
  }
  cdc_print("\r\n");
}

static void gyro_calibrate_bias_dps(void) {
  const int N = 300;
  int32_t sx = 0, sy = 0, sz = 0;

  cdc_print("Gyro calibrating... keep still\r\n");

  for (int i = 0; i < N; i++) {
    bmi088_raw_t r;
    if (bmi088_read_raw(&bmi, &r) == BMI088_OK) {
      sx += r.gx;
      sy += r.gy;
      sz += r.gz;
    }
    HAL_Delay(20);
  }

  gx_off = ((float)sx / (float)N) / 16.4f;
  gy_off = ((float)sy / (float)N) / 16.4f;
  gz_off = ((float)sz / (float)N) / 16.4f;

  attitude_set_gyro_bias_dps(&att, gx_off, gy_off, gz_off);

  cdc_print("Gyro calibration done\r\n");
}

/* USER CODE END 4 */

void Error_Handler(void) {
  __disable_irq();
  while (1) {
  }
}
#ifdef USE_FULL_ASSERT
/**
 * @brief  Reports the name of the source file and the source line number
 *         where the assert_param error has occurred.
 * @param  file: pointer to the source file name
 * @param  line: assert_param error line source number
 * @retval None
 */
void assert_failed(uint8_t *file, uint32_t line) {
  /* USER CODE BEGIN 6 */
  /* User can add his own implementation to report the file name and line
     number, ex: printf("Wrong parameters value: file %s on line %d\r\n", file,
     line) */
  /* USER CODE END 6 */
}
#endif /* USE_FULL_ASSERT */
